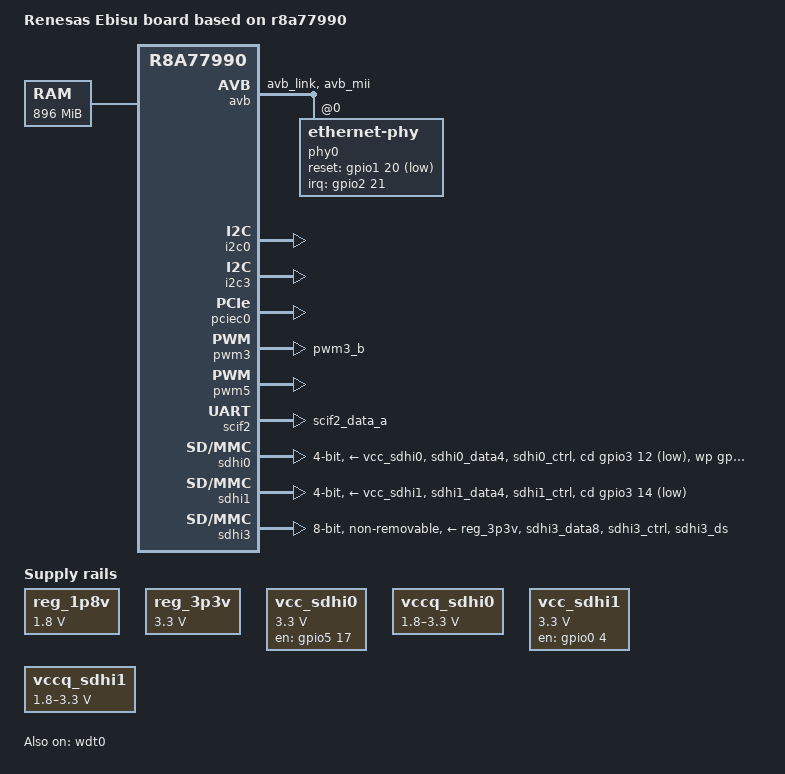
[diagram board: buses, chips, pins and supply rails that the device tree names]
/* SPDX-License-Identifier: GPL-2.0 */
/*
 * Device Tree Source for the ebisu board
 *
 * Copyright (C) 2018 Renesas Electronics Corp.
 */

/dts-v1/;
#include "r8a77990.dtsi"
#include <dt-bindings/gpio/gpio.h>

/ {
	model = "Renesas Ebisu board based on r8a77990";
	compatible = "renesas,ebisu", "renesas,r8a77990";

	aliases {
		serial0 = &scif2;
		ethernet0 = &avb;
	};

	chosen {
		bootargs = "ignore_loglevel";
		stdout-path = "serial0:115200n8";
	};

	memory@48000000 {
		device_type = "memory";
		/* first 128MB is reserved for secure area. */
		reg = <0x0 0x48000000 0x0 0x38000000>;
	};

	reserved-memory {
		#address-cells = <2>;
		#size-cells = <2>;
		ranges;

		/* For Audio DSP */
		adsp_reserved: linux,adsp {
			compatible = "shared-dma-pool";
			reusable;
			reg = <0x00000000 0x57000000 0x0 0x01000000>;
		};

		/* global autoconfigured region for contiguous allocations */
		linux,cma {
			compatible = "shared-dma-pool";
			reusable;
			reg = <0x00000000 0x58000000 0x0 0x10000000>;
			linux,cma-default;
		};

		/* device specific region for contiguous allocations */
		mmp_reserved: linux,multimedia {
			compatible = "shared-dma-pool";
			reusable;
			reg = <0x00000000 0x68000000 0x0 0x04000000>;
		};
	};

	reg_1p8v: regulator0 {
		compatible = "regulator-fixed";
		regulator-name = "fixed-1.8V";
		regulator-min-microvolt = <1800000>;
		regulator-max-microvolt = <1800000>;
		regulator-boot-on;
		regulator-always-on;
	};

	reg_3p3v: regulator1 {
		compatible = "regulator-fixed";
		regulator-name = "fixed-3.3V";
		regulator-min-microvolt = <3300000>;
		regulator-max-microvolt = <3300000>;
		regulator-boot-on;
		regulator-always-on;
	};

	vcc_sdhi0: regulator-vcc-sdhi0 {
		compatible = "regulator-fixed";

		regulator-name = "SDHI0 Vcc";
		regulator-min-microvolt = <3300000>;
		regulator-max-microvolt = <3300000>;

		gpio = <&gpio5 17 GPIO_ACTIVE_HIGH>;
		enable-active-high;
	};

	vccq_sdhi0: regulator-vccq-sdhi0 {
		compatible = "regulator-gpio";

		regulator-name = "SDHI0 VccQ";
		regulator-min-microvolt = <1800000>;
		regulator-max-microvolt = <3300000>;

		gpios = <&gpio5 18 GPIO_ACTIVE_HIGH>;
		gpios-states = <1>;
		states = <3300000 1
			  1800000 0>;
	};

	vcc_sdhi1: regulator-vcc-sdhi1 {
		compatible = "regulator-fixed";

		regulator-name = "SDHI1 Vcc";
		regulator-min-microvolt = <3300000>;
		regulator-max-microvolt = <3300000>;

		gpio = <&gpio0 4 GPIO_ACTIVE_HIGH>;
		enable-active-high;
	};

	vccq_sdhi1: regulator-vccq-sdhi1 {
		compatible = "regulator-gpio";

		regulator-name = "SDHI1 VccQ";
		regulator-min-microvolt = <1800000>;
		regulator-max-microvolt = <3300000>;

		gpios = <&gpio3 15 GPIO_ACTIVE_HIGH>;
		gpios-states = <1>;
		states = <3300000 1
			  1800000 0>;
	};
};

&avb {
	pinctrl-0 = <&avb_pins>;
	pinctrl-names = "default";
	phy-handle = <&phy0>;
	phy-mode = "rgmii-txid";
	status = "okay";

	phy0: ethernet-phy@0 {
		rxc-skew-ps = <1500>;
		reg = <0>;
		interrupt-parent = <&gpio2>;
		interrupts = <21 IRQ_TYPE_LEVEL_LOW>;
		reset-gpios = <&gpio1 20 GPIO_ACTIVE_LOW>;
	};
};

&extal_clk {
	clock-frequency = <48000000>;
};

&i2c0 {
	status = "okay";
};

&i2c3 {
	status = "okay";
};

&pcie_bus_clk {
	clock-frequency = <100000000>;
};

&pciec0 {
	status = "okay";
};

&pfc {
	avb_pins: avb {
		mux {
			groups = "avb_link", "avb_mii";
			function = "avb";
		};
	};

	pwm3_pins: pwm3 {
		groups = "pwm3_b";
		function = "pwm3";
	};

	pwm5_pins: pwm5 {
		groups = "pwm5_a";
		function = "pwm5";
	};

	scif2_pins: scif2 {
		groups = "scif2_data_a";
		function = "scif2";
	};

	sdhi0_pins: sd0 {
		groups = "sdhi0_data4", "sdhi0_ctrl";
		function = "sdhi0";
		power-source = <3300>;
	};

	sdhi0_pins_uhs: sd0_uhs {
		groups = "sdhi0_data4", "sdhi0_ctrl";
		function = "sdhi0";
		power-source = <1800>;
	};

	sdhi1_pins: sd1 {
		groups = "sdhi1_data4", "sdhi1_ctrl";
		function = "sdhi1";
		power-source = <3300>;
	};

	sdhi1_pins_uhs: sd1_uhs {
		groups = "sdhi1_data4", "sdhi1_ctrl";
		function = "sdhi1";
		power-source = <1800>;
	};

	sdhi3_pins: sd3 {
		groups = "sdhi3_data8", "sdhi3_ctrl", "sdhi3_ds";
		function = "sdhi3";
		power-source = <3300>;
	};

	sdhi3_pins_uhs: sd3_uhs {
		groups = "sdhi3_data8", "sdhi3_ctrl", "sdhi3_ds";
		function = "sdhi3";
		power-source = <1800>;
	};
};

&pwm3 {
	pinctrl-0 = <&pwm3_pins>;
	pinctrl-names = "default";
	status = "okay";
};

&pwm5 {
	princtrl-0 = <&pwm5_pins>;
	pinctrl-name = "default";
	status = "okay";
};

&scif2 {
	pinctrl-0 = <&scif2_pins>;
	pinctrl-names = "default";

	status = "okay";
};

&sdhi0 {
	pinctrl-0 = <&sdhi0_pins>;
	pinctrl-1 = <&sdhi0_pins_uhs>;
	pinctrl-names = "default", "state_uhs";

	vmmc-supply = <&vcc_sdhi0>;
	vqmmc-supply = <&vccq_sdhi0>;
	cd-gpios = <&gpio3 12 GPIO_ACTIVE_LOW>;
	wp-gpios = <&gpio3 13 GPIO_ACTIVE_HIGH>;
	bus-width = <4>;
	sd-uhs-sdr50;
	sd-uhs-sdr104;
	status = "okay";
};

&sdhi1 {
	pinctrl-0 = <&sdhi1_pins>;
	pinctrl-1 = <&sdhi1_pins_uhs>;
	pinctrl-names = "default", "state_uhs";

	vmmc-supply = <&vcc_sdhi1>;
	vqmmc-supply = <&vccq_sdhi1>;
	cd-gpios = <&gpio3 14 GPIO_ACTIVE_LOW>;
	bus-width = <4>;
	sd-uhs-sdr50;
	sd-uhs-sdr104;
	status = "okay";
};

&sdhi3 {
	/* used for on-board 8bit eMMC */
	pinctrl-0 = <&sdhi3_pins>;
	pinctrl-1 = <&sdhi3_pins_uhs>;
	pinctrl-names = "default", "state_uhs";

	vmmc-supply = <&reg_3p3v>;
	vqmmc-supply = <&reg_1p8v>;
	mmc-hs200-1_8v;
	mmc-hs400-1_8v;
	bus-width = <8>;
	non-removable;
	status = "okay";
};

&wdt0 {
	timeout-sec = <60>;
	status = "okay";
};
